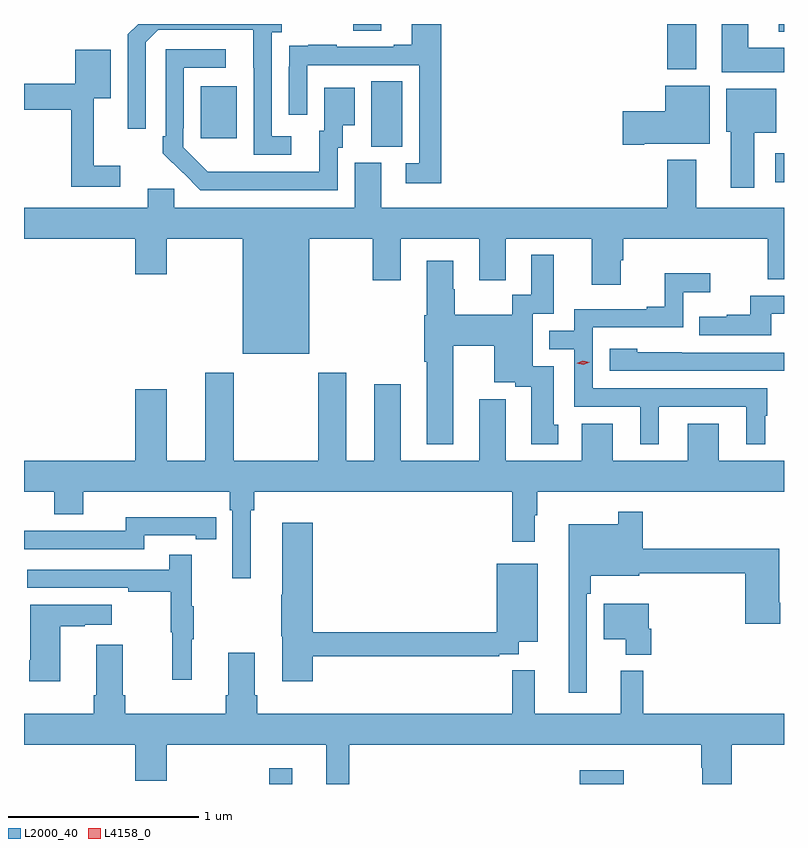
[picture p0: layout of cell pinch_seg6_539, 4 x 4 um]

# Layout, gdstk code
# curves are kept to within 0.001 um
import gdstk
lib = gdstk.Library(unit=1e-6, precision=1e-09)
def R(c, l, rs):  # rectangles x0, y0, x1, y1
    for r in rs: c.add(gdstk.rectangle(r[:2], r[2:], *l))
def P(c, l, *ps):  # polygons
    for p in ps: c.add(gdstk.Polygon(p, *l))
L2000_40 = (2000, 40)
L4158_0 = (4158, 0)

pinch_seg6_539 = lib.new_cell('pinch_seg6_539')
R(pinch_seg6_539, L2000_40, [(525.354,987.09,525.475,987.172), (526.988,987.09,527.218,987.163), (528.015,990.257,528.062,990.409), (525.89,990.445,526.054,990.788), (524.993,990.489,525.181,990.763), (527.447,990.851,527.599,991.09), (528.035,991.049,528.062,991.09), (525.796,991.054,525.943,991.09)])
P(pinch_seg6_539, L2000_40, [(525.469,990.498),(525.366,990.498),(525.366,991.046),(525.418,991.046),(525.418,991.09),(524.662,991.09),(524.607,991.035),(524.607,990.54),(524.703,990.54),(524.703,990.993),(524.769,991.059),(525.269,991.059),(525.27,990.402),(525.469,990.402)],
  [(528.062,990.964),(527.875,990.964),(527.875,991.09),(527.735,991.09),(527.735,990.836),(528.062,990.836)],
  [(526.259,991.09),(526.103,991.09),(526.103,990.982),(526.007,990.982),(526.007,990.969),(525.707,990.969),(525.707,990.982),(525.559,990.982),(525.559,990.975),(525.457,990.975),(525.457,990.866),(525.456,990.866),(525.456,990.612),(525.552,990.612),(525.552,990.873),(526.143,990.873),(526.143,990.357),(526.071,990.357),(526.071,990.252),(526.259,990.252)],
  [(525.714,990.438),(525.739,990.438),(525.739,990.557),(525.802,990.557),(525.802,990.754),(525.641,990.754),(525.641,990.528),(525.617,990.528),(525.617,990.312),(525.03,990.313),(524.901,990.441),(524.901,990.541),(524.904,990.541),(524.904,990.861),(525.124,990.861),(525.124,990.957),(524.808,990.957),(524.808,990.499),(524.793,990.499),(524.793,990.411),(524.99,990.216),(525.714,990.216)],
  [(524.569,990.343),(524.429,990.343),(524.429,990.698),(524.518,990.698),(524.518,990.955),(524.331,990.955),(524.331,990.776),(524.062,990.776),(524.062,990.64),(524.311,990.64),(524.311,990.234),(524.569,990.234)],
  [(527.326,990.461),(527.671,990.461),(527.671,990.766),(527.438,990.766),(527.438,990.632),(527.214,990.632),(527.214,990.454),(527.326,990.454)],
  [(527.905,990.518),(528.022,990.518),(528.022,990.748),(527.759,990.748),(527.759,990.522),(527.783,990.522),(527.783,990.228),(527.905,990.228)],
  [(525.562,989.96),(525.898,989.96),(525.898,989.742),(526.045,989.742),(526.045,989.96),(526.457,989.96),(526.457,989.742),(526.597,989.742),(526.597,989.96),(527.051,989.96),(527.051,989.718),(527.203,989.718),(527.203,989.847),(527.216,989.847),(527.216,989.96),(527.976,989.96),(527.976,989.746),(528.062,989.746),(528.062,990.124),(527.599,990.124),(527.599,990.376),(527.447,990.376),(527.447,990.124),(525.943,990.124),(525.943,990.36),(525.803,990.36),(525.803,990.124),(524.853,990.124),(524.853,990.222),(524.714,990.222),(524.714,990.124),(524.062,990.124),(524.062,989.96),(524.648,989.96),(524.648,989.772),(524.812,989.772),(524.812,989.96),(525.212,989.96),(525.212,989.354),(525.562,989.354)],
  [(526.321,989.396),(526.538,989.396),(526.538,989.204),(526.647,989.204),(526.647,989.181),(526.733,989.181),(526.733,988.878),(526.873,988.878),(526.873,988.98),(526.849,988.98),(526.849,989.289),(526.74,989.289),(526.74,989.565),(526.849,989.565),(526.849,989.875),(526.733,989.875),(526.733,989.666),(526.632,989.666),(526.632,989.56),(526.329,989.56),(526.329,989.694),(526.321,989.694),(526.321,989.845),(526.181,989.845),(526.181,989.556),(526.169,989.556),(526.169,989.312),(526.181,989.312),(526.181,988.877),(526.321,988.877)],
  [(527.404,989.076),(527.864,989.076),(527.864,988.877),(527.962,988.877),(527.962,989.028),(527.974,989.028),(527.974,989.172),(527.055,989.172),(527.055,989.493),(527.532,989.493),(527.532,989.678),(527.674,989.678),(527.674,989.777),(527.434,989.777),(527.434,989.602),(527.339,989.602),(527.339,989.589),(526.959,989.589),(526.959,989.475),(526.826,989.475),(526.826,989.379),(526.959,989.379),(526.959,989.076),(527.306,989.076),(527.306,988.877),(527.404,988.877)],
  [(527.995,989.564),(528.062,989.564),(528.062,989.661),(527.885,989.661),(527.885,989.56),(527.761,989.56),(527.761,989.548),(527.617,989.548),(527.617,989.451),(527.995,989.451)],
  [(528.062,989.361),(527.525,989.361),(527.525,989.362),(527.289,989.362),(527.289,989.38),(527.145,989.38),(527.145,989.265),(528.062,989.265)],
  [(525.256,988.532),(525.275,988.532),(525.275,988.628),(526.633,988.628),(526.633,988.365),(526.75,988.365),(526.75,988.505),(526.762,988.505),(526.762,988.628),(528.062,988.628),(528.062,988.792),(527.719,988.792),(527.719,988.987),(527.555,988.987),(527.555,988.792),(527.161,988.792),(527.161,988.987),(526.997,988.987),(526.997,988.792),(526.597,988.792),(526.597,989.116),(526.457,989.116),(526.457,988.792),(526.045,988.792),(526.045,989.194),(525.905,989.194),(525.905,988.792),(525.757,988.792),(525.757,989.254),(525.61,989.254),(525.61,988.792),(525.165,988.792),(525.165,989.254),(525.017,989.254),(525.017,988.792),(524.812,988.792),(524.812,989.167),(524.648,989.167),(524.648,988.792),(524.062,988.792),(524.062,988.628),(524.222,988.628),(524.222,988.511),(524.374,988.511),(524.374,988.628),(525.146,988.628),(525.146,988.532),(525.159,988.532),(525.159,988.173),(525.256,988.173)],
  [(527.025,988.091),(527.045,988.091),(527.045,988.187),(527.299,988.187),(527.299,988.198),(527.858,988.198),(527.858,987.933),(528.041,987.933),(528.041,988.045),(528.036,988.045),(528.036,988.327),(527.318,988.327),(527.318,988.522),(527.19,988.522),(527.19,988.456),(526.928,988.456),(526.928,987.57),(527.025,987.57)],
  [(524.694,988.398),(524.966,988.398),(524.966,988.378),(525.074,988.378),(525.074,988.494),(524.966,988.494),(524.966,988.495),(524.598,988.495),(524.598,988.422),(524.138,988.422),(524.138,988.424),(524.062,988.424),(524.062,988.326),(524.694,988.326)],
  [(525.581,987.762),(526.562,987.762),(526.562,987.774),(526.666,987.774),(526.666,987.839),(526.765,987.839),(526.765,988.249),(526.55,988.249),(526.55,987.89),(525.581,987.89),(525.581,988.465),(525.422,988.465),(525.422,988.085),(525.415,988.085),(525.415,987.867),(525.422,987.867),(525.422,987.63),(525.581,987.63)],
  [(524.945,987.851),(524.956,987.851),(524.956,988.025),(524.945,988.025),(524.945,988.297),(524.827,988.297),(524.827,988.218),(524.079,988.218),(524.079,988.122),(524.611,988.122),(524.611,988.102),(524.835,988.102),(524.835,987.888),(524.842,987.888),(524.842,987.639),(524.945,987.639)],
  [(527.363,987.906),(527.35,987.906),(527.35,988.039),(527.114,988.039),(527.114,987.851),(527.228,987.851),(527.228,987.77),(527.363,987.77)],
  [(524.254,987.919),(524.381,987.919),(524.381,987.929),(524.524,987.929),(524.524,988.033),(524.096,988.033),(524.096,987.742),(524.089,987.742),(524.089,987.63),(524.254,987.63)],
  [(525.775,987.296),(527.626,987.296),(527.626,987.176),(527.633,987.176),(527.633,987.09),(527.786,987.09),(527.786,987.296),(528.062,987.296),(528.062,987.46),(527.321,987.46),(527.321,987.685),(527.204,987.685),(527.204,987.46),(526.751,987.46),(526.751,987.689),(526.633,987.689),(526.633,987.46),(525.29,987.46),(525.29,987.556),(525.277,987.556),(525.277,987.781),(525.137,987.781),(525.137,987.556),(525.125,987.556),(525.125,987.46),(524.594,987.46),(524.594,987.556),(524.581,987.556),(524.581,987.823),(524.441,987.823),(524.441,987.556),(524.429,987.556),(524.429,987.46),(524.062,987.46),(524.062,987.296),(524.648,987.296),(524.648,987.108),(524.812,987.108),(524.812,987.296),(525.653,987.296),(525.653,987.09),(525.775,987.09)])
P(pinch_seg6_539, L4158_0, [(527.006,989.297),(526.971,989.304),(526.971,989.305),(526.971,989.305),(527.004,989.317),(527.039,989.31),(527.039,989.31),(527.039,989.31)])

lib.write_gds('pinch_seg6_539.gds')
